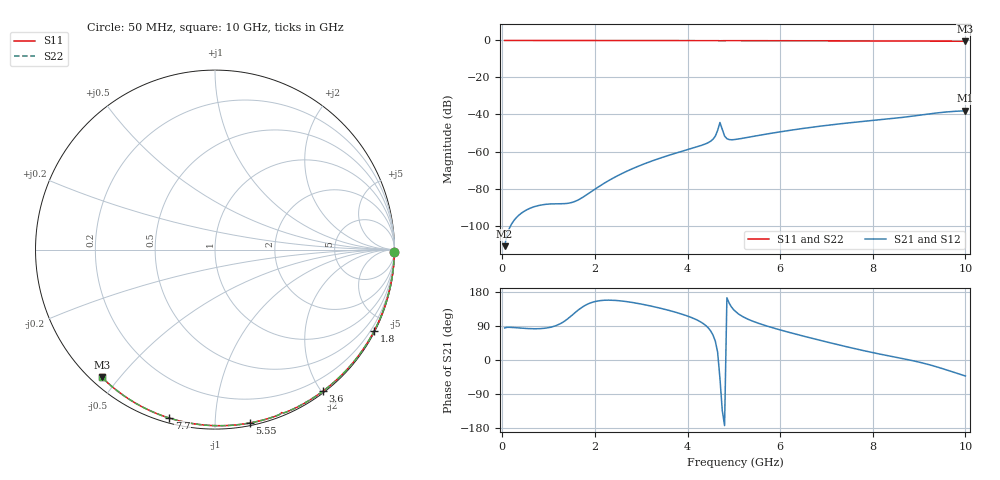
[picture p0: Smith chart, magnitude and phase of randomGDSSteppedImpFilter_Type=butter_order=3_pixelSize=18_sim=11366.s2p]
! freq	dB(S11)	phase(S11)	dB(S12)	phase(S12)
!  dB(S21)	phase(S21)	dB(S22)	phase(S22)
!S-par simulation data
#  GHz  S  DB  R 50
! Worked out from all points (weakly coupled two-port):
!   200 points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, 50 MHz to 10 GHz, reference 50 ohm
!   highest |S21| = -38.01 dB at 10 GHz (marker M1); lowest = -111.2 dB at 50 MHz (marker M2)
!   lowest |S11| = -0.4 dB at 10 GHz (marker M3), VSWR 39.27, Z = 1.53 - j22.5 ohm
!   |S11| at or under -10 dB: nowhere
!   |S22| runs from -0.4 to 0.0 dB; largest |S21 - S12| = 0
!   S11 on the Smith chart (normalised r, x): 50 MHz: open; 1.8 GHz: 0.04, -4.17; 3.6 GHz: 0.02, -2.02; 5.55 GHz: 0.02, -1.22; 7.7 GHz: 0.02, -0.76; 10 GHz: 0.03, -0.45
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0.05  -0.00 -0.7  -111.15 84.5  -111.15 84.5  -0.00 -0.7
0.9  -0.02 -13.6  -88.67 83.6  -88.67 83.6  -0.02 -13.6
1.75  -0.03 -26.2  -84.55 141.3  -84.55 141.3  -0.03 -26.2
1.8  -0.03 -27.0  -83.74 144.9  -83.74 144.9  -0.03 -27.0
2.05  -0.04 -30.6  -79.54 155.5  -79.54 155.5  -0.04 -30.6
2.65  -0.05 -39.3  -71.10 154.7  -71.10 154.7  -0.05 -39.3
3.4  -0.07 -50.0  -63.65 137.0  -63.65 137.0  -0.07 -50.0
3.6  -0.07 -52.7  -62.02 130.8  -62.02 130.8  -0.07 -52.7
4.3  -0.09 -62.4  -56.69 99.2  -56.69 99.2  -0.09 -62.4
4.5  -0.09 -65.1  -54.42 76.6  -54.42 76.6  -0.09 -65.1
4.6  -0.10 -66.5  -51.70 49.6  -51.70 49.6  -0.10 -66.5
4.65  -0.12 -67.2  -48.60 20.5  -48.60 20.5  -0.12 -67.2
4.7  -0.17 -67.8  -44.33 -48.5  -44.33 -48.5  -0.17 -67.8
4.8  -0.11 -68.9  -51.66 -173.1  -51.66 -173.1  -0.11 -68.9
4.85  -0.11 -69.6  -53.08 164.2  -53.08 164.2  -0.11 -69.6
5.05  -0.11 -72.2  -53.42 126.8  -53.42 126.8  -0.11 -72.2
5.55  -0.13 -78.7  -51.24 96.1  -51.24 96.1  -0.13 -78.7
6.7  -0.18 -93.2  -46.85 56.9  -46.85 56.9  -0.18 -93.2
7.7  -0.24 -105.2  -43.97 27.5  -43.97 27.5  -0.24 -105.2
8.35  -0.29 -112.8  -42.37 10.7  -42.37 10.7  -0.29 -112.8
9.45  -0.39 -125.4  -38.99 -20.6  -38.99 -20.6  -0.39 -125.4
10  -0.44 -131.5  -38.01 -42.2  -38.01 -42.2  -0.44 -131.5
